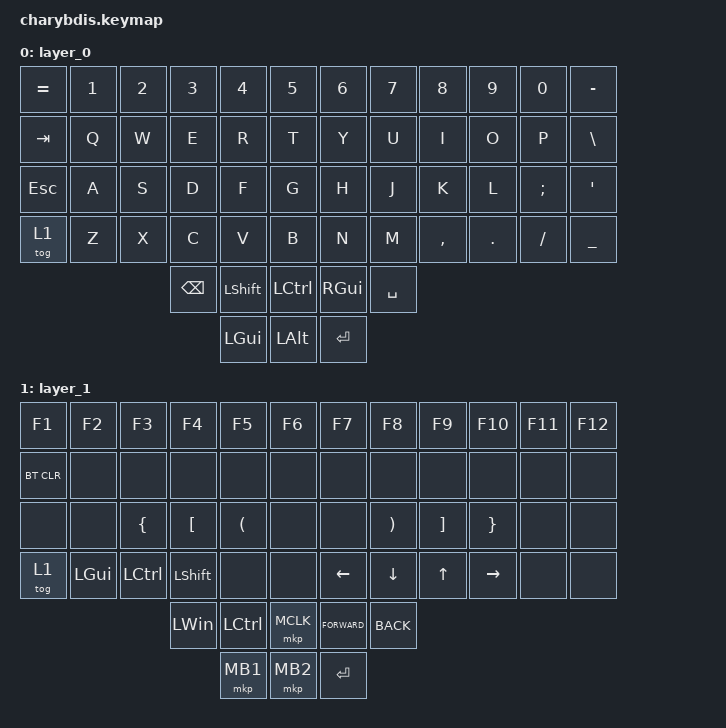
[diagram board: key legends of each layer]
#include <dt-bindings/zmk/mouse.h>
#include <behaviors.dtsi>
#include <dt-bindings/zmk/bt.h>
#include <dt-bindings/zmk/keys.h>
#include <dt-bindings/zmk/pointing.h>

&lt {
    tapping-term-ms = <200>;
    flavor = "balanced";
    quick-tap-ms = <150>;
};

/ {
    keymap {
        compatible = "zmk,keymap";

        layer_0 {
            bindings = <
&kp EQUAL   &kp N1  &kp N2  &kp N3         &kp N4          &kp N5              &kp N6         &kp N7     &kp N8     &kp N9      &kp N0    &kp MINUS
&kp TAB     &kp Q   &kp W   &kp E          &kp R           &kp T               &kp Y          &kp U      &kp I      &kp O       &kp P     &kp BSLH
&kp ESCAPE  &kp A   &kp S   &kp D          &kp F           &kp G               &kp H          &kp J      &kp K      &kp L       &kp SEMI  &kp SQT
&tog 1      &kp Z   &kp X   &kp C          &kp V           &kp B               &kp N          &kp M      &kp COMMA  &kp PERIOD  &kp FSLH  &kp UNDER
                            &kp BACKSPACE  &kp LEFT_SHIFT  &kp LEFT_CONTROL    &kp RIGHT_GUI  &kp SPACE
                                           &kp LEFT_GUI    &kp LEFT_ALT        &kp ENTER
            >;

            trackball-bindings = <&tmv_coarse>;
        };

        layer_1 {
            bindings = <
&kp F1      &kp F2        &kp F3            &kp F4            &kp F5                &kp F6       &kp F7         &kp F8                 &kp F9             &kp F10          &kp F11  &kp F12
&bt BT_CLR  &none         &none             &none             &none                 &none        &none          &none                  &none              &none            &none    &none
&none       &none         &kp LEFT_BRACE    &kp LEFT_BRACKET  &kp LEFT_PARENTHESIS  &none        &none          &kp RIGHT_PARENTHESIS  &kp RIGHT_BRACKET  &kp RIGHT_BRACE  &none    &none
&tog 1      &kp LEFT_GUI  &kp LEFT_CONTROL  &kp LEFT_SHIFT    &none                 &none        &kp LEFT       &kp DOWN               &kp UP             &kp RIGHT        &none    &none
                                            &kp LEFT_WIN      &kp LEFT_CONTROL      &mkp MCLK    &kp K_FORWARD  &kp K_BACK
                                                              &mkp MB1              &mkp MB2     &kp ENTER
            >;

            trackball-bindings = <&tsl>;
        };

        /* layer_2 {
            bindings = <
&none  &none   &none    &none   &none         &none         &kp N1         &none         &none     &none  &none   &to 0
&none  &none   &none    &none   &none         &none         &none         &none          &rgb_ug RGB_BRD &rgb_ug RGB_BRI  &rgb_ug RGB_EFF   &rgb_ug RGB_TOG
&none  &none   &none    &none   &none         &none         &none         &mkp LCLK     &mkp RCLK  &none  &none   &none
&none  &none   &none    &none   &bt BT_NXT  &bt BT_CLR    &none         &none         &none     &none  &none   &none
                                   &none         &none         &none         &none         &none
                                                 &none         &none         &none
            >;
          trackball-bindings = <&tsl>;
            
        };

       Mouse {
            bindings = <
&none        &none         &none         &none         &none      &none         &none       &none      &none         &none         &none         &none
&none        &bt BT_SEL 0  &bt BT_SEL 1  &bt BT_SEL 3  &none      &bt BT_CLR    &bt BT_CLR  &none      &bt BT_SEL 2  &bt BT_SEL 1  &bt BT_SEL 0  &none
&none        &trans        &trans        &mkp MCLK     &trans     &none         &none       &trans     &mkp MCLK     &trans        &trans        &none
&bootloader  &trans        &mkp RCLK     &mo 4         &mkp LCLK  &mo 5         &mo 5       &mkp LCLK  &mo 4         &mkp RCLK     &trans        &bootloader
                                         &mo 5         &mkp LCLK  &mkp RCLK     &mkp RCLK   &mkp LCLK
                                                       &none      &trans        &trans
            >;

            
        };

        layer_4 {
            bindings = <
&trans  &trans  &trans     &trans     &trans     &trans       &trans     &trans     &trans     &trans     &trans  &trans
&trans  &trans  &trans     &trans     &trans     &trans       &trans     &trans     &trans     &trans     &trans  &trans
&trans  &trans  &trans     &mkp MCLK  &trans     &trans       &trans     &trans     &mkp MCLK  &trans     &trans  &trans
&trans  &trans  &mkp RCLK  &trans     &mkp LCLK  &trans       &trans     &mkp LCLK  &trans     &mkp RCLK  &trans  &trans
                           &trans     &mkp LCLK  &mkp RCLK    &mkp RCLK  &mkp LCLK
                                      &trans     &trans       &trans
            >;
                
                
                trackball-bindings = <&tsl>;
        };

        layer_5 {
            bindings = <
&trans  &trans  &trans     &trans     &trans     &trans       &trans     &trans     &trans     &trans     &trans  &trans
&trans  &trans  &trans     &trans     &trans     &trans       &trans     &trans     &trans     &trans     &trans  &trans
&trans  &trans  &trans     &mkp MCLK  &trans     &trans       &trans     &trans     &mkp MCLK  &trans     &trans  &trans
&trans  &trans  &mkp RCLK  &trans     &mkp LCLK  &trans       &trans     &mkp LCLK  &trans     &mkp RCLK  &trans  &trans
                           &trans     &mkp LCLK  &mkp RCLK    &mkp RCLK  &mkp LCLK
                                      &trans     &trans       &trans
            >;
                trackball-bindings = <&tmv_fine>;
                
        };*/
    };
};
